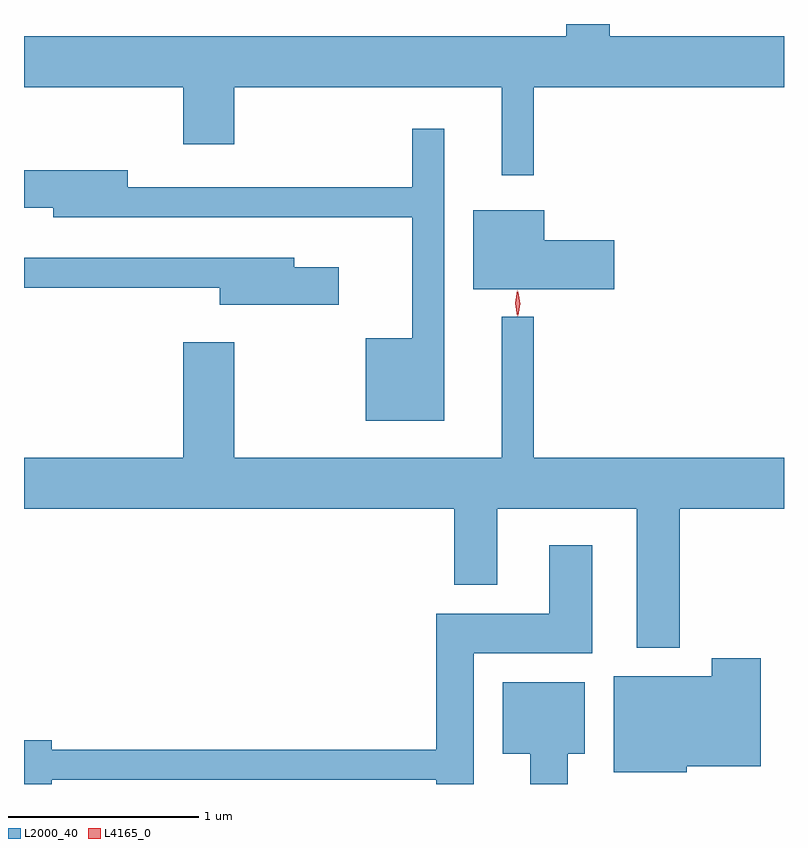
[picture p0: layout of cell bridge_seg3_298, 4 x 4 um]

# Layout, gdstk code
import gdstk
lib = gdstk.Library(unit=1e-6, precision=1e-09)
def P(c, l, *ps):  # polygons
    for p in ps: c.add(gdstk.Polygon(p, *l))
L2000_40 = (2000, 40)
L4165_0 = (4165, 0)

bridge_seg3_298 = lib.new_cell('bridge_seg3_298')
P(bridge_seg3_298, L2000_40, [(596.539,1170.416),(597.857,1170.416),(597.857,1170.684),(596.939,1170.684),(596.939,1170.748),(596.711,1170.748),(596.711,1170.684),(593.857,1170.684),(593.857,1170.416),(594.696,1170.416),(594.696,1170.116),(594.964,1170.116),(594.964,1170.416),(596.371,1170.416),(596.371,1169.953),(596.539,1169.953)],
  [(596.069,1170.198),(595.901,1170.198),(595.901,1169.889),(594.404,1169.889),(594.404,1169.979),(593.857,1169.979),(593.857,1169.781),(594.011,1169.781),(594.011,1169.731),(595.901,1169.731),(595.901,1169.094),(595.656,1169.094),(595.656,1168.661),(596.069,1168.661)],
  [(596.964,1169.609),(596.594,1169.609),(596.594,1169.769),(596.221,1169.769),(596.221,1169.351),(596.964,1169.351)],
  [(595.514,1169.469),(595.279,1169.469),(595.279,1169.519),(593.857,1169.519),(593.857,1169.361),(594.886,1169.361),(594.886,1169.271),(595.514,1169.271)],
  [(597.309,1168.196),(597.857,1168.196),(597.857,1168.464),(596.539,1168.464),(596.539,1169.208),(596.371,1169.208),(596.371,1168.464),(594.964,1168.464),(594.964,1169.074),(594.696,1169.074),(594.696,1168.464),(593.857,1168.464),(593.857,1168.196),(596.121,1168.196),(596.121,1167.796),(596.349,1167.796),(596.349,1168.196),(597.081,1168.196),(597.081,1167.466),(597.309,1167.466)],
  [(594.004,1166.771),(596.026,1166.771),(596.026,1166.748),(596.224,1166.748),(596.224,1167.436),(596.849,1167.436),(596.849,1168.004),(596.621,1168.004),(596.621,1167.644),(596.026,1167.644),(596.026,1166.929),(594.004,1166.929),(594.004,1166.979),(593.857,1166.979),(593.857,1166.748),(594.004,1166.748)],
  [(597.344,1166.841),(597.734,1166.841),(597.734,1167.409),(597.476,1167.409),(597.476,1167.314),(596.961,1167.314),(596.961,1166.811),(597.344,1166.811)],
  [(596.719,1166.906),(596.809,1166.906),(596.809,1167.284),(596.376,1167.284),(596.376,1166.906),(596.521,1166.906),(596.521,1166.748),(596.719,1166.748)])
P(bridge_seg3_298, L4165_0, [(596.453,1169.21),(596.453,1169.21),(596.443,1169.278),(596.452,1169.346),(596.452,1169.346),(596.453,1169.346),(596.463,1169.278),(596.454,1169.21)],
  [(596.458,1169.213),(596.457,1169.214),(596.448,1169.276),(596.457,1169.34),(596.458,1169.34),(596.458,1169.34),(596.468,1169.276),(596.458,1169.214)])

lib.write_gds('bridge_seg3_298.gds')
